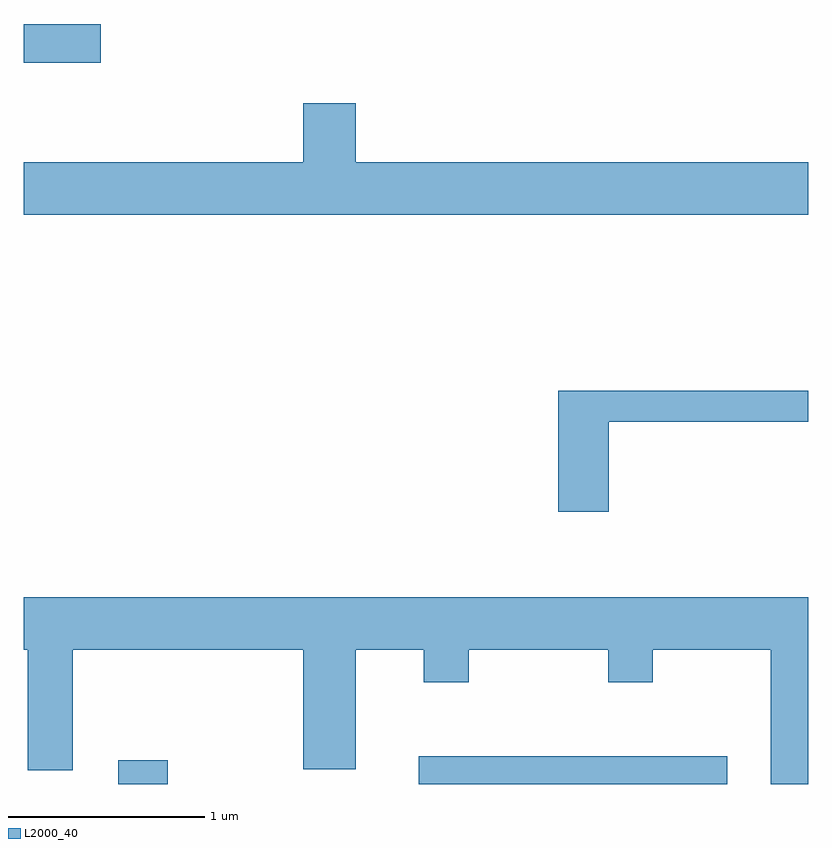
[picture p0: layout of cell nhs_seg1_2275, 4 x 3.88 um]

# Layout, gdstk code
import gdstk
lib = gdstk.Library(unit=1e-6, precision=1e-09)
def R(c, l, rs):  # rectangles x0, y0, x1, y1
    for r in rs: c.add(gdstk.rectangle(r[:2], r[2:], *l))
def P(c, l, *ps):  # polygons
    for p in ps: c.add(gdstk.Polygon(p, *l))
L2000_40 = (2000, 40)

nhs_seg1_2275 = lib.new_cell('nhs_seg1_2275')
R(nhs_seg1_2275, L2000_40, [(254.091,967.712,254.344,967.834), (255.626,967.712,257.198,967.854), (253.611,971.391,254.004,971.589)])
P(nhs_seg1_2275, L2000_40, [(257.611,970.884),(255.304,970.884),(255.304,971.184),(255.036,971.184),(255.036,970.884),(253.611,970.884),(253.611,970.616),(257.611,970.616)],
  [(256.594,969.561),(257.611,969.561),(257.611,969.719),(256.336,969.719),(256.336,969.101),(256.594,969.101)],
  [(257.611,968.664),(253.611,968.664),(253.611,968.396),(253.631,968.396),(253.631,967.781),(253.859,967.781),(253.859,968.396),(255.036,968.396),(255.036,967.786),(255.304,967.786),(255.304,968.396),(255.651,968.396),(255.651,968.231),(255.879,968.231),(255.879,968.396),(256.591,968.396),(256.591,968.231),(256.819,968.231),(256.819,968.396),(257.421,968.396),(257.421,967.712),(257.611,967.712)])

lib.write_gds('nhs_seg1_2275.gds')
